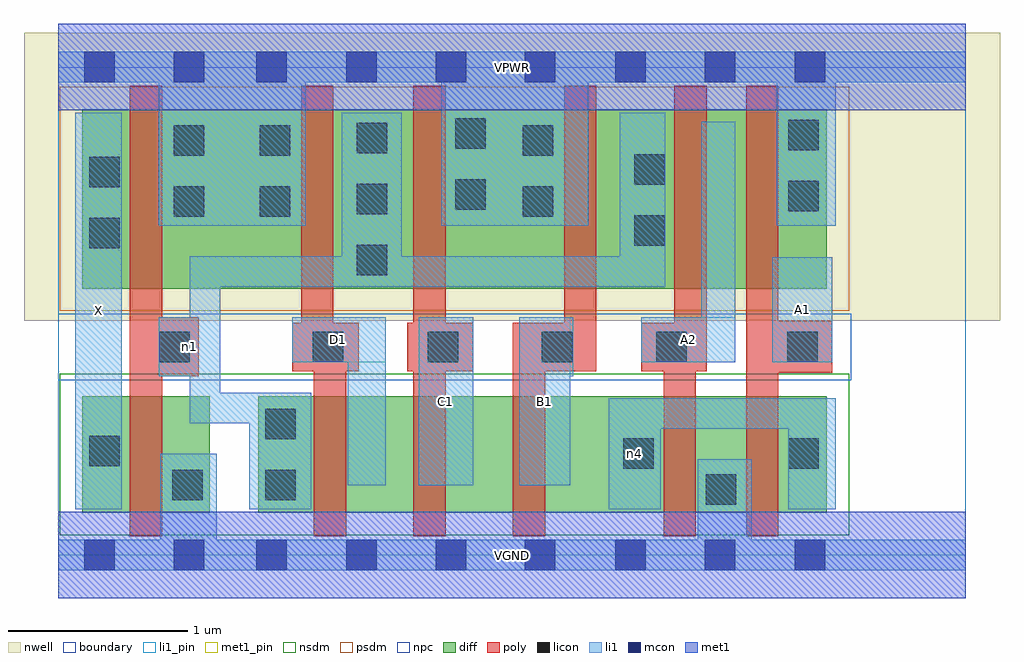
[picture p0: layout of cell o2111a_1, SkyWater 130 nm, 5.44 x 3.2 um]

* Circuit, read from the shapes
.subckt o2111a_1 A1 A2 B1 C1 D1 VGND VPWR X n1 n4
XM1 VGND n1 X VSUBS sky130_fd_pr__nfet_01v8 w=0.65 l=0.18
XM2 n2 D1 n1 VSUBS sky130_fd_pr__nfet_01v8 w=0.65 l=0.18
XM3 n3 C1 n2 VSUBS sky130_fd_pr__nfet_01v8 w=0.65 l=0.18
XM4 n4 B1 n3 VSUBS sky130_fd_pr__nfet_01v8 w=0.65 l=0.18
XM5 VGND A2 n4 VSUBS sky130_fd_pr__nfet_01v8 w=0.65 l=0.18
XM6 n4 A1 VGND VSUBS sky130_fd_pr__nfet_01v8 w=0.65 l=0.18
XM7 VPWR n1 X n5 sky130_fd_pr__pfet_01v8 w=1 l=0.18
XM8 n1 D1 VPWR n5 sky130_fd_pr__pfet_01v8 w=1 l=0.18
XM9 VPWR C1 n1 n5 sky130_fd_pr__pfet_01v8 w=1 l=0.18
XM10 n1 B1 VPWR n5 sky130_fd_pr__pfet_01v8 w=1 l=0.18
XM11 n6 A2 n1 n5 sky130_fd_pr__pfet_01v8 w=1 l=0.18
XM12 VPWR A1 n6 n5 sky130_fd_pr__pfet_01v8 w=1 l=0.18
.ends

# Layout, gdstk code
import gdstk
lib = gdstk.Library(unit=1e-6, precision=1e-09)
def R(c, l, rs):  # rectangles x0, y0, x1, y1
    for r in rs: c.add(gdstk.rectangle(r[:2], r[2:], *l))
def A(c, l, x, y, w, h, nx, ny, dx, dy):  # array of equal rectangles
    R(c, l, [(x+i*dx, y+j*dy, x+i*dx+w, y+j*dy+h) for i in range(nx) for j in range(ny)])
nwell = (64, 20)
diff = (65, 20)
poly = (66, 20)
licon = (66, 44)
li1_pin = (67, 16)
li1 = (67, 20)
mcon = (67, 44)
met1_pin = (68, 16)
met1 = (68, 20)
nsdm = (93, 44)
psdm = (94, 20)
npc = (95, 20)
boundary = (235, 4)

o2111a_1 = lib.new_cell('o2111a_1')
R(o2111a_1, nwell, [(-0.19,1.305,5.25,2.91), (0,1.305,5.06,2.91)])
R(o2111a_1, diff, [(0.135,0.235,0.845,0.885), (1.115,0.235,4.285,0.885), (0.135,1.485,4.285,2.485)])
R(o2111a_1, poly, [(0.4,0.105,0.58,2.615), (1.425,0.105,1.605,1.295), (1.98,0.105,2.16,2.615), (2.535,0.105,2.715,1.295), (3.375,0.105,3.555,1.295), (3.835,0.105,4.015,2.615), (0.4,0.995,0.785,1.325), (3.835,1.015,4.315,1.305), (1.305,1.025,1.675,1.295), (1.355,1.025,1.535,2.615), (1.945,1.025,2.315,1.295), (2.535,1.025,3,1.295), (2.82,1.025,3,2.615), (3.25,1.025,3.615,1.295), (3.435,1.025,3.615,2.615)])
A(o2111a_1, licon, 1.665, 1.56, 0.17, 0.17, 1, 3, 0, 0.34)
R(o2111a_1, licon, [(3.61,0.28,3.78,0.45), (0.635,0.305,0.805,0.475), (1.155,0.305,1.325,0.475), (3.15,0.48,3.32,0.65), (4.07,0.48,4.24,0.65), (0.175,0.495,0.345,0.665), (1.155,0.645,1.325,0.815), (0.565,1.075,0.735,1.245), (1.42,1.075,1.59,1.245), (2.06,1.075,2.23,1.245), (2.695,1.075,2.865,1.245), (3.335,1.075,3.505,1.245), (4.065,1.075,4.235,1.245), (0.175,1.71,0.345,1.88), (3.21,1.725,3.38,1.895), (0.645,1.885,0.815,2.055), (1.125,1.885,1.295,2.055), (2.59,1.885,2.76,2.055), (4.07,1.915,4.24,2.085), (2.215,1.925,2.385,2.095), (0.175,2.05,0.345,2.22), (3.21,2.065,3.38,2.235), (0.645,2.225,0.815,2.395), (1.125,2.225,1.295,2.395), (2.59,2.225,2.76,2.395), (4.07,2.255,4.24,2.425), (2.215,2.265,2.385,2.435)])
R(o2111a_1, li1_pin, [(0.095,0.255,0.355,2.465), (2.01,0.39,2.315,1.325), (2.57,0.39,2.855,1.325), (1.305,1.075,1.825,1.325), (3.25,1.075,3.775,1.325), (3.98,1.075,4.315,1.66)])
R(o2111a_1, li1, [(0,-0.085,5.06,0.085), (0.57,-0.085,0.885,0.565), (3.565,-0.085,3.865,0.535), (0.095,0.255,0.355,2.465), (1.065,0.255,1.41,0.905), (3.07,0.255,3.36,0.875), (4.07,0.255,4.335,0.875), (1.615,0.39,1.825,1.325), (2.01,0.39,2.315,1.325), (2.57,0.39,2.855,1.325), (3.07,0.705,4.335,0.875), (0.735,0.735,0.905,1.665), (0.735,0.735,1.41,0.905), (0.56,0.995,0.905,1.325), (2.57,0.995,2.87,1.325), (1.305,1.075,1.825,1.325), (3.25,1.075,3.775,1.325), (3.585,1.075,3.775,2.415), (3.98,1.075,4.315,1.66), (0.735,1.495,3.385,1.665), (1.58,1.495,1.915,2.465), (3.13,1.495,3.385,2.465), (0.56,1.835,1.38,2.805), (2.135,1.835,2.955,2.805), (4.005,1.835,4.335,2.805), (0,2.635,5.06,2.805)])
A(o2111a_1, mcon, 1.105, -0.085, 0.17, 0.17, 3, 2, 0.5, 2.72)
A(o2111a_1, mcon, 3.105, -0.085, 0.17, 0.17, 3, 2, 0.5, 2.72)
R(o2111a_1, mcon, [(0.145,-0.085,0.315,0.085), (0.645,-0.085,0.815,0.085), (2.6,-0.085,2.77,0.085), (0.145,2.635,0.315,2.805), (0.645,2.635,0.815,2.805), (2.6,2.635,2.77,2.805)])
R(o2111a_1, met1_pin, [(0,-0.24,5.06,0.24), (0,2.48,5.06,2.96)])
R(o2111a_1, met1, [(0,-0.24,5.06,0.24), (0,2.48,5.06,2.96)])
R(o2111a_1, nsdm, [(0.01,0.11,4.41,1.01)])
R(o2111a_1, psdm, [(0.01,1.36,4.41,2.61)])
R(o2111a_1, npc, [(0,0.975,4.42,1.345)])
R(o2111a_1, boundary, [(0,0,5.06,2.72)])
o2111a_1.add(gdstk.Label('A1', (4.147,1.367), layer=67, texttype=5))
o2111a_1.add(gdstk.Label('A2', (3.512,1.2), layer=67, texttype=5))
o2111a_1.add(gdstk.Label('B1', (2.712,0.857), layer=67, texttype=5))
o2111a_1.add(gdstk.Label('C1', (2.162,0.857), layer=67, texttype=5))
o2111a_1.add(gdstk.Label('D1', (1.565,1.2), layer=67, texttype=5))
o2111a_1.add(gdstk.Label('X', (0.225,1.36), layer=67, texttype=5))
o2111a_1.add(gdstk.Label('n4', (3.215,0.565), layer=67, texttype=5))
o2111a_1.add(gdstk.Label('n1', (0.732,1.16), layer=67, texttype=5))
o2111a_1.add(gdstk.Label('VPWR', (2.53,2.72), layer=68, texttype=5))
o2111a_1.add(gdstk.Label('VGND', (2.53,0), layer=68, texttype=5))
o2111a_1.add(gdstk.Label('A1', (4.147,1.367), layer=67, texttype=16))
o2111a_1.add(gdstk.Label('A2', (3.512,1.2), layer=67, texttype=16))
o2111a_1.add(gdstk.Label('B1', (2.712,0.857), layer=67, texttype=16))
o2111a_1.add(gdstk.Label('C1', (2.162,0.857), layer=67, texttype=16))
o2111a_1.add(gdstk.Label('D1', (1.565,1.2), layer=67, texttype=16))
o2111a_1.add(gdstk.Label('X', (0.225,1.36), layer=67, texttype=16))
o2111a_1.add(gdstk.Label('VPWR', (2.53,2.72), layer=68, texttype=16))
o2111a_1.add(gdstk.Label('VGND', (2.53,0), layer=68, texttype=16))

lib.write_gds('o2111a_1.gds')
